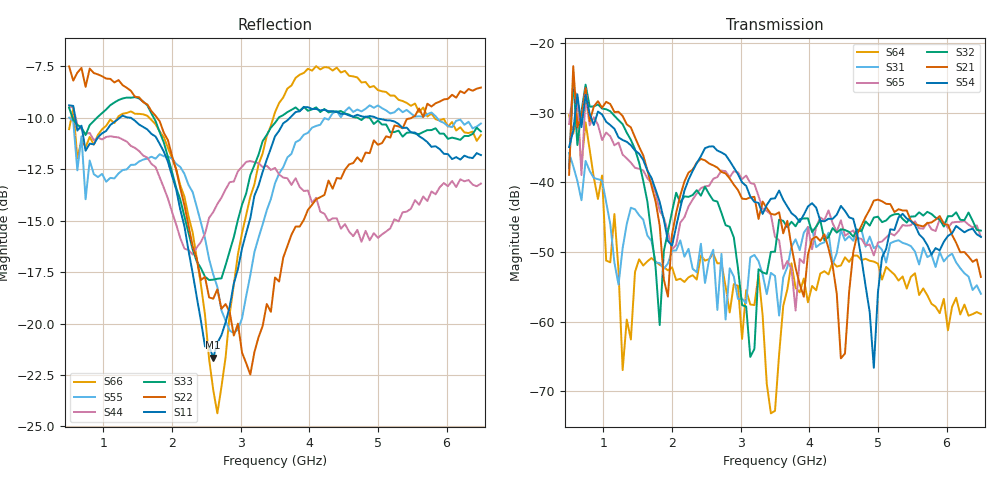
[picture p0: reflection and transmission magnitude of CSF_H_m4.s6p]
!Keysight Technologies,M9804A,MY58100912,A.14.10.03
!Date: Thursday, April 27, 2023 10:28:33
!Correction: S11(C  6-Port  )
!S12(C  6-Port  )
!S13(C  6-Port  )
!S14(C  6-Port  )
!S15(C  6-Port  )
!S16(C  6-Port  )
!S21(C  6-Port  )
!S22(C  6-Port  )
!S23(C  6-Port  )
!S24(C  6-Port  )
!S25(C  6-Port  )
!S26(C  6-Port  )
!S31(C  6-Port  )
!S32(C  6-Port  )
!S33(C  6-Port  )
!S34(C  6-Port  )
!S35(C  6-Port  )
!S36(C  6-Port  )
!S41(C  6-Port  )
!S42(C  6-Port  )
!S43(C  6-Port  )
!S44(C  6-Port  )
!S45(C  6-Port  )
!S46(C  6-Port  )
!S51(C  6-Port  )
!S52(C  6-Port  )
!S53(C  6-Port  )
!S54(C  6-Port  )
!S55(C  6-Port  )
!S56(C  6-Port  )
!S61(C  6-Port  )
!S62(C  6-Port  )
!S63(C  6-Port  )
!S64(C  6-Port  )
!S65(C  6-Port  )
!S66(C  6-Port  )
!S6P File: Measurement: :
# Hz S  RI  R 50
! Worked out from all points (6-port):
!   101 points, 500 MHz to 6.5 GHz, reference 50 ohm
!   strongest paths, dB at 500 MHz, 2 GHz, 3.5 GHz, 5 GHz, 6.5 GHz:
!     S54: -34.9, -49.1, -42.3, -55.8, -47.8
!     S21: -38.9, -47.4, -44.7, -42.5, -53.6
!     S32: -37.9, -44.2, -50.0, -44.9, -46.9
!     S65: -31.6, -49.6, -47.9, -48.6, -47.8
!     S31: -35.8, -49.8, -53.4, -49.1, -56.0
!     S64: -30.4, -52.2, -72.8, -51.7, -58.9
!   lowest |S11| = -21.7 dB at 2.6 GHz (marker M1), VSWR 1.18, Z = 42.6 + j2.02 ohm
!   |S11| at or under -10 dB: 589 MHz to 1.237 GHz (648.3 MHz wide, 71 % of centre); 1.401 GHz to 3.718 GHz (2.316 GHz wide, 90.5 % of centre); 4.975 GHz to end of sweep
